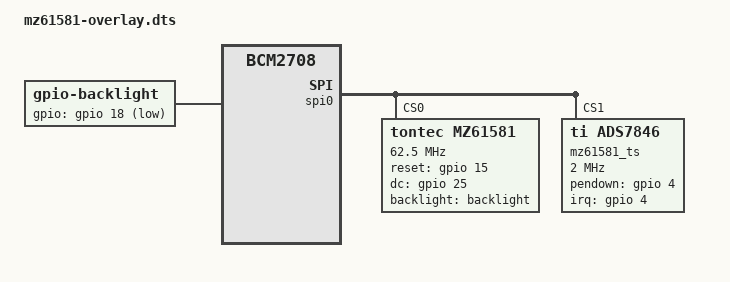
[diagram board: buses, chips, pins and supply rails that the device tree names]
/*
 * Device Tree overlay for mz61581 by Tontec
 *
 */

/dts-v1/;
/plugin/;

/ {
	compatible = "brcm,bcm2708";

	fragment@0 {
		target = <&spi0>;
		__overlay__ {
			status = "okay";

			spidev@0{
				status = "disabled";
			};

			spidev@1{
				status = "disabled";
			};
		};
	};

	fragment@1 {
		target = <&gpio>;
		__overlay__ {
			mz61581_pins: mz61581_pins {
				brcm,pins = <4 15 18 25>;
				brcm,function = <0 1 1 1>; /* in out out out */
			};
		};
	};

	fragment@2 {
		target = <&spi0>;
		__overlay__ {
			/* needed to avoid dtc warning */
			#address-cells = <1>;
			#size-cells = <0>;

			mz61581: mz61581@0{
				compatible = "tontec,mz61581";
				reg = <0>;
				pinctrl-names = "default";
				pinctrl-0 = <&mz61581_pins>;

				spi-max-frequency = <62500000>;
				spi-cpol;
				spi-cpha;

				rotation = <0>;
				reset-gpios = <&gpio 15 0>;
				dc-gpios = <&gpio 25 0>;
				backlight = <&backlight>;
			};

			mz61581_ts: mz61581_ts@1 {
				compatible = "ti,ads7846";
				reg = <1>;

				spi-max-frequency = <2000000>;
				interrupts = <4 2>; /* high-to-low edge triggered */
				interrupt-parent = <&gpio>;
				pendown-gpio = <&gpio 4 0>;

				ti,x-plate-ohms = /bits/ 16 <60>;
				ti,pressure-max = /bits/ 16 <255>;
			};

		};
	};

	fragment@3 {
		target-path = "/soc";
		__overlay__ {
			backlight: backlight {
				compatible = "gpio-backlight";
				gpios = <&gpio 18 1>;
			};
		};
	};

	__overrides__ {
		speed =    <&mz61581>, "spi-max-frequency:0";
		rotation = <&mz61581>, "rotation:0";
		xohms =    <&mz61581_ts>,"ti,x-plate-ohms;0";
	};
};
